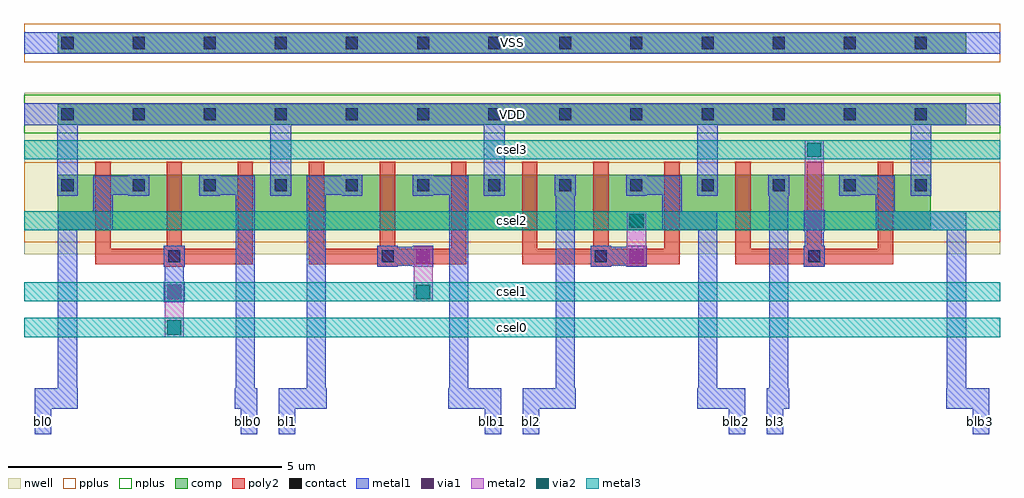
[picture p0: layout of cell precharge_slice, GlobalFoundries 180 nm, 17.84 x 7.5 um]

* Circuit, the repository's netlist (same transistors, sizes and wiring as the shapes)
** sch_path: /home/ubuntu/GitHub/gf180-sram/.loom/worktrees/issue-173/design/precharge_slice.sch
.subckt precharge_slice csel0 csel1 csel2 csel3 bl0 bl1 bl2 bl3 blb0 blb1 blb2 blb3 VDD VSS
*.PININFO csel0:I csel1:I csel2:I csel3:I bl0:B bl1:B bl2:B bl3:B blb0:B blb1:B blb2:B blb3:B VDD:B
*+ VSS:B
XMPB0 bl0 csel0 VDD VDD pfet_03v3 L=0.28u W=1u nf=1 ad='int((nf+1)/2) * W/nf * 0.18u' as='int((nf+2)/2) * W/nf * 0.18u'
+ pd='2*int((nf+1)/2) * (W/nf + 0.18u)' ps='2*int((nf+2)/2) * (W/nf + 0.18u)' nrd='0.18u / W' nrs='0.18u / W'
+ sa=0 sb=0 sd=0 m=1
XMPN0 blb0 csel0 VDD VDD pfet_03v3 L=0.28u W=1u nf=1 ad='int((nf+1)/2) * W/nf * 0.18u' as='int((nf+2)/2) * W/nf * 0.18u'
+ pd='2*int((nf+1)/2) * (W/nf + 0.18u)' ps='2*int((nf+2)/2) * (W/nf + 0.18u)' nrd='0.18u / W' nrs='0.18u / W'
+ sa=0 sb=0 sd=0 m=1
XMPE0 bl0 csel0 blb0 VDD pfet_03v3 L=0.28u W=1u nf=1 ad='int((nf+1)/2) * W/nf * 0.18u' as='int((nf+2)/2) * W/nf * 0.18u'
+ pd='2*int((nf+1)/2) * (W/nf + 0.18u)' ps='2*int((nf+2)/2) * (W/nf + 0.18u)' nrd='0.18u / W' nrs='0.18u / W'
+ sa=0 sb=0 sd=0 m=1
XMPB1 bl1 csel1 VDD VDD pfet_03v3 L=0.28u W=1u nf=1 ad='int((nf+1)/2) * W/nf * 0.18u' as='int((nf+2)/2) * W/nf * 0.18u'
+ pd='2*int((nf+1)/2) * (W/nf + 0.18u)' ps='2*int((nf+2)/2) * (W/nf + 0.18u)' nrd='0.18u / W' nrs='0.18u / W'
+ sa=0 sb=0 sd=0 m=1
XMPN1 blb1 csel1 VDD VDD pfet_03v3 L=0.28u W=1u nf=1 ad='int((nf+1)/2) * W/nf * 0.18u' as='int((nf+2)/2) * W/nf * 0.18u'
+ pd='2*int((nf+1)/2) * (W/nf + 0.18u)' ps='2*int((nf+2)/2) * (W/nf + 0.18u)' nrd='0.18u / W' nrs='0.18u / W'
+ sa=0 sb=0 sd=0 m=1
XMPE1 bl1 csel1 blb1 VDD pfet_03v3 L=0.28u W=1u nf=1 ad='int((nf+1)/2) * W/nf * 0.18u' as='int((nf+2)/2) * W/nf * 0.18u'
+ pd='2*int((nf+1)/2) * (W/nf + 0.18u)' ps='2*int((nf+2)/2) * (W/nf + 0.18u)' nrd='0.18u / W' nrs='0.18u / W'
+ sa=0 sb=0 sd=0 m=1
XMPB2 bl2 csel2 VDD VDD pfet_03v3 L=0.28u W=1u nf=1 ad='int((nf+1)/2) * W/nf * 0.18u' as='int((nf+2)/2) * W/nf * 0.18u'
+ pd='2*int((nf+1)/2) * (W/nf + 0.18u)' ps='2*int((nf+2)/2) * (W/nf + 0.18u)' nrd='0.18u / W' nrs='0.18u / W'
+ sa=0 sb=0 sd=0 m=1
XMPN2 blb2 csel2 VDD VDD pfet_03v3 L=0.28u W=1u nf=1 ad='int((nf+1)/2) * W/nf * 0.18u' as='int((nf+2)/2) * W/nf * 0.18u'
+ pd='2*int((nf+1)/2) * (W/nf + 0.18u)' ps='2*int((nf+2)/2) * (W/nf + 0.18u)' nrd='0.18u / W' nrs='0.18u / W'
+ sa=0 sb=0 sd=0 m=1
XMPE2 bl2 csel2 blb2 VDD pfet_03v3 L=0.28u W=1u nf=1 ad='int((nf+1)/2) * W/nf * 0.18u' as='int((nf+2)/2) * W/nf * 0.18u'
+ pd='2*int((nf+1)/2) * (W/nf + 0.18u)' ps='2*int((nf+2)/2) * (W/nf + 0.18u)' nrd='0.18u / W' nrs='0.18u / W'
+ sa=0 sb=0 sd=0 m=1
XMPB3 bl3 csel3 VDD VDD pfet_03v3 L=0.28u W=1u nf=1 ad='int((nf+1)/2) * W/nf * 0.18u' as='int((nf+2)/2) * W/nf * 0.18u'
+ pd='2*int((nf+1)/2) * (W/nf + 0.18u)' ps='2*int((nf+2)/2) * (W/nf + 0.18u)' nrd='0.18u / W' nrs='0.18u / W'
+ sa=0 sb=0 sd=0 m=1
XMPN3 blb3 csel3 VDD VDD pfet_03v3 L=0.28u W=1u nf=1 ad='int((nf+1)/2) * W/nf * 0.18u' as='int((nf+2)/2) * W/nf * 0.18u'
+ pd='2*int((nf+1)/2) * (W/nf + 0.18u)' ps='2*int((nf+2)/2) * (W/nf + 0.18u)' nrd='0.18u / W' nrs='0.18u / W'
+ sa=0 sb=0 sd=0 m=1
XMPE3 bl3 csel3 blb3 VDD pfet_03v3 L=0.28u W=1u nf=1 ad='int((nf+1)/2) * W/nf * 0.18u' as='int((nf+2)/2) * W/nf * 0.18u'
+ pd='2*int((nf+1)/2) * (W/nf + 0.18u)' ps='2*int((nf+2)/2) * (W/nf + 0.18u)' nrd='0.18u / W' nrs='0.18u / W'
+ sa=0 sb=0 sd=0 m=1
.ends
.end

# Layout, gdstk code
import gdstk
lib = gdstk.Library(unit=1e-6, precision=1e-09)
def R(c, l, rs):  # rectangles x0, y0, x1, y1
    for r in rs: c.add(gdstk.rectangle(r[:2], r[2:], *l))
def A(c, l, x, y, w, h, nx, ny, dx, dy):  # array of equal rectangles
    R(c, l, [(x+i*dx, y+j*dy, x+i*dx+w, y+j*dy+h) for i in range(nx) for j in range(ny)])
def P(c, l, *ps):  # polygons
    for p in ps: c.add(gdstk.Polygon(p, *l))
nwell = (21, 0)
comp = (22, 0)
poly2 = (30, 0)
pplus = (31, 0)
nplus = (32, 0)
contact = (33, 0)
metal1 = (34, 0)
via1 = (35, 0)
metal2 = (36, 0)
via2 = (38, 0)
metal3 = (42, 0)

precharge_slice = lib.new_cell('precharge_slice')
R(precharge_slice, nwell, [(0,3.29,17.84,6.24)])
R(precharge_slice, comp, [(0.615,3.74,16.575,4.74), (0.615,5.66,17.225,6.04), (0.615,6.96,17.225,7.34)])
P(precharge_slice, poly2, [(2.555,3.06),(2.555,3.11),(1.305,3.11),(1.305,4.98),(1.585,4.98),(1.585,3.39),(2.555,3.39),(2.555,3.44),(2.605,3.44),(2.605,4.98),(2.885,4.98),(2.885,3.44),(2.935,3.44),(2.935,3.39),(3.905,3.39),(3.905,4.98),(4.185,4.98),(4.185,3.11),(2.935,3.11),(2.935,3.06)],
  [(6.455,3.06),(6.455,3.11),(5.205,3.11),(5.205,4.98),(5.485,4.98),(5.485,3.39),(6.455,3.39),(6.455,3.44),(6.505,3.44),(6.505,4.98),(6.785,4.98),(6.785,3.44),(6.835,3.44),(6.835,3.39),(7.805,3.39),(7.805,4.98),(8.085,4.98),(8.085,3.11),(6.835,3.11),(6.835,3.06)],
  [(10.355,3.06),(10.355,3.11),(9.105,3.11),(9.105,4.98),(9.385,4.98),(9.385,3.39),(10.355,3.39),(10.355,3.44),(10.405,3.44),(10.405,4.98),(10.685,4.98),(10.685,3.44),(10.735,3.44),(10.735,3.39),(11.705,3.39),(11.705,4.98),(11.985,4.98),(11.985,3.11),(10.735,3.11),(10.735,3.06)],
  [(14.255,3.06),(14.255,3.11),(13.005,3.11),(13.005,4.98),(13.285,4.98),(13.285,3.39),(14.255,3.39),(14.255,3.44),(14.305,3.44),(14.305,4.98),(14.585,4.98),(14.585,3.44),(14.635,3.44),(14.635,3.39),(15.605,3.39),(15.605,4.98),(15.885,4.98),(15.885,3.11),(14.635,3.11),(14.635,3.06)])
R(precharge_slice, pplus, [(0,3.51,17.84,4.97), (0,6.8,17.84,7.5)])
R(precharge_slice, nplus, [(0,5.5,17.84,6.2)])
A(precharge_slice, contact, 2.635, 3.14, 0.22, 0.22, 4, 1, 3.9, 0)
A(precharge_slice, contact, 0.685, 4.44, 0.22, 0.22, 13, 3, 1.3, 1.3)
R(precharge_slice, metal1, [(0,6.95,17.84,7.35)])
P(precharge_slice, metal1, [(2.555,2.41),(2.555,2.79),(2.57,2.79),(2.57,3.06),(2.555,3.06),(2.555,3.44),(2.935,3.44),(2.935,3.06),(2.92,3.06),(2.92,2.79),(2.935,2.79),(2.935,2.41)],
  [(6.455,3.06),(6.455,3.44),(6.835,3.44),(6.835,3.425),(7.105,3.425),(7.105,3.44),(7.485,3.44),(7.485,3.06),(7.105,3.06),(7.105,3.075),(6.835,3.075),(6.835,3.06)],
  [(10.355,3.06),(10.355,3.44),(10.735,3.44),(10.735,3.425),(11.005,3.425),(11.005,3.44),(11.385,3.44),(11.385,3.06),(11.005,3.06),(11.005,3.075),(10.735,3.075),(10.735,3.06)],
  [(14.255,3.06),(14.255,3.44),(14.27,3.44),(14.27,3.71),(14.255,3.71),(14.255,4.09),(14.635,4.09),(14.635,3.71),(14.62,3.71),(14.62,3.44),(14.635,3.44),(14.635,3.06)],
  [(0.2,0),(0.2,0.84),(0.62,0.84),(0.62,4.075),(1.27,4.075),(1.27,4.725),(1.905,4.725),(1.905,4.74),(2.285,4.74),(2.285,4.36),(1.905,4.36),(1.905,4.375),(1.62,4.375),(1.62,3.725),(0.97,3.725),(0.97,0.84),(0.985,0.84),(0.985,0.46),(0.5,0.46),(0.5,0)],
  [(3.96,0),(3.96,0.46),(3.855,0.46),(3.855,0.84),(3.87,0.84),(3.87,4.375),(3.585,4.375),(3.585,4.36),(3.205,4.36),(3.205,4.74),(3.585,4.74),(3.585,4.725),(4.22,4.725),(4.22,0.84),(4.26,0.84),(4.26,0)],
  [(4.66,0),(4.66,0.84),(5.17,0.84),(5.17,4.725),(5.805,4.725),(5.805,4.74),(6.185,4.74),(6.185,4.36),(5.805,4.36),(5.805,4.375),(5.52,4.375),(5.52,0.84),(5.535,0.84),(5.535,0.46),(4.96,0.46),(4.96,0)],
  [(8.42,0),(8.42,0.46),(7.755,0.46),(7.755,0.84),(7.77,0.84),(7.77,4.375),(7.485,4.375),(7.485,4.36),(7.105,4.36),(7.105,4.74),(7.485,4.74),(7.485,4.725),(8.12,4.725),(8.12,0.84),(8.72,0.84),(8.72,0)],
  [(9.12,0),(9.12,0.84),(9.72,0.84),(9.72,4.36),(9.705,4.36),(9.705,4.74),(10.085,4.74),(10.085,4.36),(10.07,4.36),(10.07,0.84),(10.085,0.84),(10.085,0.46),(9.42,0.46),(9.42,0)],
  [(12.88,0),(12.88,0.46),(12.305,0.46),(12.305,0.84),(12.32,0.84),(12.32,3.725),(11.67,3.725),(11.67,4.375),(11.385,4.375),(11.385,4.36),(11.005,4.36),(11.005,4.74),(11.385,4.74),(11.385,4.725),(12.02,4.725),(12.02,4.075),(12.67,4.075),(12.67,0.84),(13.18,0.84),(13.18,0)],
  [(13.58,0),(13.58,0.84),(13.62,0.84),(13.62,4.36),(13.605,4.36),(13.605,4.74),(13.985,4.74),(13.985,4.36),(13.97,4.36),(13.97,0.84),(13.985,0.84),(13.985,0.46),(13.88,0.46),(13.88,0)],
  [(17.34,0),(17.34,0.46),(16.855,0.46),(16.855,0.84),(16.87,0.84),(16.87,3.725),(15.57,3.725),(15.57,4.375),(15.285,4.375),(15.285,4.36),(14.905,4.36),(14.905,4.74),(15.285,4.74),(15.285,4.725),(15.92,4.725),(15.92,4.075),(17.22,4.075),(17.22,0.84),(17.64,0.84),(17.64,0)],
  [(0.605,4.36),(0.605,5.65),(0,5.65),(0,6.05),(17.84,6.05),(17.84,5.65),(16.585,5.65),(16.585,4.36),(16.205,4.36),(16.205,5.65),(12.685,5.65),(12.685,4.36),(12.305,4.36),(12.305,5.65),(8.785,5.65),(8.785,4.36),(8.405,4.36),(8.405,5.65),(4.885,5.65),(4.885,4.36),(4.505,4.36),(4.505,5.65),(0.985,5.65),(0.985,4.36)])
R(precharge_slice, via1, [(2.615,2.47,2.875,2.73), (7.165,3.12,7.425,3.38), (11.065,3.12,11.325,3.38), (14.315,3.77,14.575,4.03)])
R(precharge_slice, metal2, [(2.57,1.775,2.92,2.775), (7.12,2.425,7.47,3.425), (11.02,3.075,11.37,4.075), (14.27,3.725,14.62,5.375)])
R(precharge_slice, via2, [(2.615,1.82,2.875,2.08), (7.165,2.47,7.425,2.73), (11.065,3.77,11.325,4.03), (14.315,5.07,14.575,5.33)])
A(precharge_slice, metal3, 0, 2.425, 17.84, 0.35, 1, 3, 0, 1.3)
R(precharge_slice, metal3, [(0,1.775,17.84,2.125)])
precharge_slice.add(gdstk.Label('VDD', (8.92,5.85), layer=34, texttype=10))
precharge_slice.add(gdstk.Label('VSS', (8.92,7.15), layer=34, texttype=10))
precharge_slice.add(gdstk.Label('bl0', (0.35,0.238), layer=34, texttype=10))
precharge_slice.add(gdstk.Label('blb0', (4.11,0.238), layer=34, texttype=10))
precharge_slice.add(gdstk.Label('bl1', (4.81,0.238), layer=34, texttype=10))
precharge_slice.add(gdstk.Label('blb1', (8.57,0.238), layer=34, texttype=10))
precharge_slice.add(gdstk.Label('bl2', (9.27,0.238), layer=34, texttype=10))
precharge_slice.add(gdstk.Label('blb2', (13.03,0.238), layer=34, texttype=10))
precharge_slice.add(gdstk.Label('bl3', (13.73,0.238), layer=34, texttype=10))
precharge_slice.add(gdstk.Label('blb3', (17.49,0.238), layer=34, texttype=10))
precharge_slice.add(gdstk.Label('csel0', (8.92,1.95), layer=42, texttype=10))
precharge_slice.add(gdstk.Label('csel1', (8.92,2.6), layer=42, texttype=10))
precharge_slice.add(gdstk.Label('csel2', (8.92,3.9), layer=42, texttype=10))
precharge_slice.add(gdstk.Label('csel3', (8.92,5.2), layer=42, texttype=10))

lib.write_gds('precharge_slice.gds')
